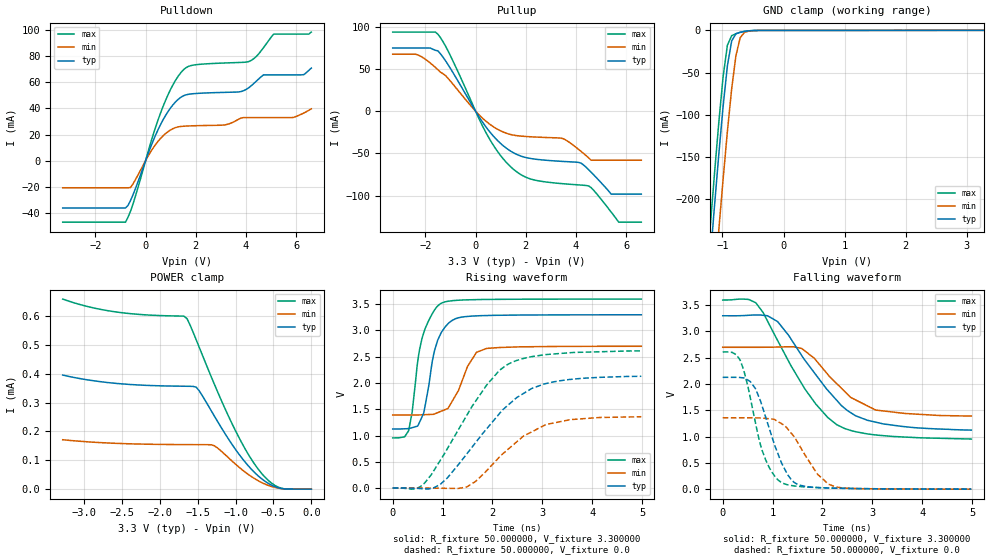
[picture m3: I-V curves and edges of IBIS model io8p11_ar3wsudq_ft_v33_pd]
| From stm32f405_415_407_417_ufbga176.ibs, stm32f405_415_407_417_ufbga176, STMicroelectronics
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|   Model io8p11_ar3wsudq_ft_v33_pd
[Model]  io8p11_ar3wsudq_ft_v33_pd
Model_type I/O
Polarity   Non-Inverting
Enable   Active-Low
Vinl =   0.990000V
Vinh =   2.310000V
Vmeas =  1.650000V
Cref =   30.000000pF
Rref =   100.000000M
Vref =   0.0V
C_comp   3.857500pF   3.760500pF   3.941700pF
[Temperature Range]   25.000000   0.125000k   -40.000000
[Pullup Reference]   3.300000V   2.700000V   3.600000V
[Pulldown Reference]   0.0V   0.0V   0.0V
[POWER Clamp Reference]   3.300000V   2.700000V   3.600000V
[GND Clamp Reference]   0.0V   0.0V   0.0V
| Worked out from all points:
|   slope of the pulldown table from 0 to 0.495 V, typ, clamps not added: 20.9 ohm
|   slope of the pullup table from 0 to 0.495 V, typ, clamps not added: 22.6 ohm
|   GND clamp passes 1 mA (typ) near -0.62 V on its own axis
|   rising waveform, R_fixture 50.000000, V_fixture 3.300000: 20-80 % time 278ps typ, 390ps min, 271ps max; typ from 1.12 V to 3.3 V
|   rising waveform, R_fixture 50.000000, V_fixture 0.0: 20-80 % time 1.16ns typ, 998ps min, 1.05ns max; typ from 0 V to 2.13 V
|   falling waveform, R_fixture 50.000000, V_fixture 3.300000: 20-80 % time 1.06ns typ, 877ps min, 1.03ns max; typ from 3.3 V to 1.12 V
|   falling waveform, R_fixture 50.000000, V_fixture 0.0: 20-80 % time 472ps typ, 561ps min, 409ps max; typ from 2.13 V to 0 V
[Pulldown]
|Voltage   I(typ)   I(min)   I(max)
-3.3V     -36.18mA   -20.77mA   -47.07mA
-800mV    -36.18mA   -20.77mA   -47.07mA
-600mV    -30.5mA    -20.52mA   -38.69mA
700mV     31.4mA     19.11mA    41.71mA
1.2V      45.15mA    25.37mA    61.75mA
1.6V      50.35mA    26.5mA     71.06mA
3.1V      52.27mA    27.26mA    74.75mA
4.1V      55.7mA     32.99mA    75.8mA
4.7V      65.71mA    32.99mA    86.63mA
5.1V      65.71mA    32.99mA    96.88mA
6.3V      65.85mA    36.49mA    96.88mA
6.6V      70.9mA     39.7mA     98.44mA
[Pullup]
|Voltage   I(typ)   I(min)   I(max)
-3.3V     74.74mA    67.41mA    93.59mA
-2.3V     74.74mA    66.57mA    93.59mA
-1.5V     71.35mA    49.01mA    91.01mA
-1V       50.51mA    35.5mA     65.49mA
500mV     -22.07mA   -14mA      -30.03mA
1.6V      -50.64mA   -28.81mA   -70.96mA
3.5V      -59.53mA   -32.72mA   -85.92mA
4.2V      -61.52mA   -47.6mA    -87.46mA
4.5V      -69.21mA   -55.15mA   -88.44mA
5.4V      -98.2mA    -58mA      -119.4mA
5.7V      -98.2mA    -58mA      -131.4mA
6.6V      -98.2mA    -58mA      -131.4mA
[GND_clamp]
|Voltage   I(typ)   I(min)   I(max)
-3.3V     -2.332A    -2.407A    -2.312A
-1.2V     -270.2mA   -361.4mA   -232.1mA
-1.13V    -207.3mA   -298.1mA   -169mA
-1.06V    -146.7mA   -236.2mA   -108.8mA
-990mV    -90.18mA   -176.4mA   -54.97mA
-920mV    -42.21mA   -120mA     -17.69mA
-850mV    -12.58mA   -69.47mA   -6.279mA
-780mV    -3.983mA   -30.01mA   -3.9mA
-710mV    -2.112mA   -8.623mA   -2.396mA
-640mV    -1.159mA   -2.292mA   -1.234mA
-570mV    -535.1uA   -830.5uA   -490.2uA
3.28V     81.28uA    57.87uA    93.98uA
[POWER_clamp]
|Voltage   I(typ)   I(min)   I(max)
-3.28V    395.3uA    171.3uA    658.7uA
-2.6V     367.1uA    159uA      614.9uA
-1.68V    356.7uA    154.4uA    599.4uA
-1.64V    356.5uA    154.4uA    590.8uA
-1.52V    353.6uA    154.3uA    518.3uA
-1.48V    341.1uA    154.2uA    492.3uA
-1.28V    253.6uA    150.4uA    364.2uA
-960mV    123.1uA    77.55uA    181.6uA
-720mV    50.52uA    32.03uA    76.18uA
-560mV    18.94uA    12.27uA    28.65uA
-440mV    5.104uA    3.69uA     7.327uA
0V        0A         0A         0A
[Ramp]
| variable   typ   min   max
dV/dt_r  1.26420/1.15771n   0.80682/0.99254n   1.56096/1.04850n
dV/dt_f  1.28064/1.04421n   0.77262/0.86595n   1.57145/1.02312n
R_load = 50.000000
[Rising Waveform]
R_fixture= 50.000000
V_fixture= 3.300000
V_fixture_min= 2.700000
V_fixture_max= 3.600000
|time   V(typ)   V(min)   V(max)
0s        1.123V     1.391V     953.8mV
320.3ps   1.131V     1.39V      1.094V
510.5ps   1.197V     1.391V     2.471V
650.7ps   1.571V     1.397V     3.037V
830.8ps   2.585V     1.408V     3.377V
971ps     2.955V     1.462V     3.517V
1.111ns   3.13V      1.519V     3.557V
1.682ns   3.278V     2.585V     3.587V
1.882ns   3.284V     2.657V     3.591V
4.985ns   3.299V     2.699V     3.598V
[Rising Waveform]
R_fixture= 50.000000
V_fixture= 0.0
V_fixture_min= 0.0
V_fixture_max= 0.0
|time   V(typ)   V(min)   V(max)
0s        211.7uV    82.57uV    620.3uV
550.6ps   -10.61mV   -118.1uV   23.35mV
951ps     68.5mV     -3.811mV   522.3mV
1.491ns   656.9mV    24.75mV    1.394V
1.882ns   1.125V     327.7mV    1.959V
2.282ns   1.553V     713.1mV    2.34V
2.783ns   1.893V     1.068V     2.501V
3.073ns   1.989V     1.209V     2.541V
3.574ns   2.069V     1.303V     2.578V
4.985ns   2.127V     1.358V     2.61V
[Falling Waveform]
R_fixture= 50.000000
V_fixture= 3.300000
V_fixture_min= 2.700000
V_fixture_max= 3.600000
|time   V(typ)   V(min)   V(max)
0s        3.299V     2.699V     3.598V
660.7ps   3.314V     2.699V     3.548V
810.8ps   3.307V     2.7V       3.359V
1.101ns   3.188V     2.704V     2.828V
1.582ns   2.546V     2.678V     2.012V
1.872ns   2.171V     2.45V      1.614V
2.292ns   1.684V     2.002V     1.224V
2.663ns   1.397V     1.699V     1.094V
3.073ns   1.273V     1.504V     1.031V
4.985ns   1.123V     1.391V     953.8mV
[Falling Waveform]
R_fixture= 50.000000
V_fixture= 0.0
V_fixture_min= 0.0
V_fixture_max= 0.0
|time   V(typ)   V(min)   V(max)
0s        2.127V     1.358V     2.61V
350.4ps   2.123V     1.357V     2.454V
510.5ps   2.072V     1.357V     1.934V
660.7ps   1.907V     1.356V     1.244V
860.9ps   1.372V     1.346V     559.8mV
1.191ns   476.2mV    1.24V      121.1mV
1.491ns   97.47mV    908.2mV    55.7mV
1.902ns   30.43mV    284.2mV    31.08mV
2.282ns   17.95mV    39.13mV    18.7mV
4.985ns   211.7uV    82.57uV    620.3uV
